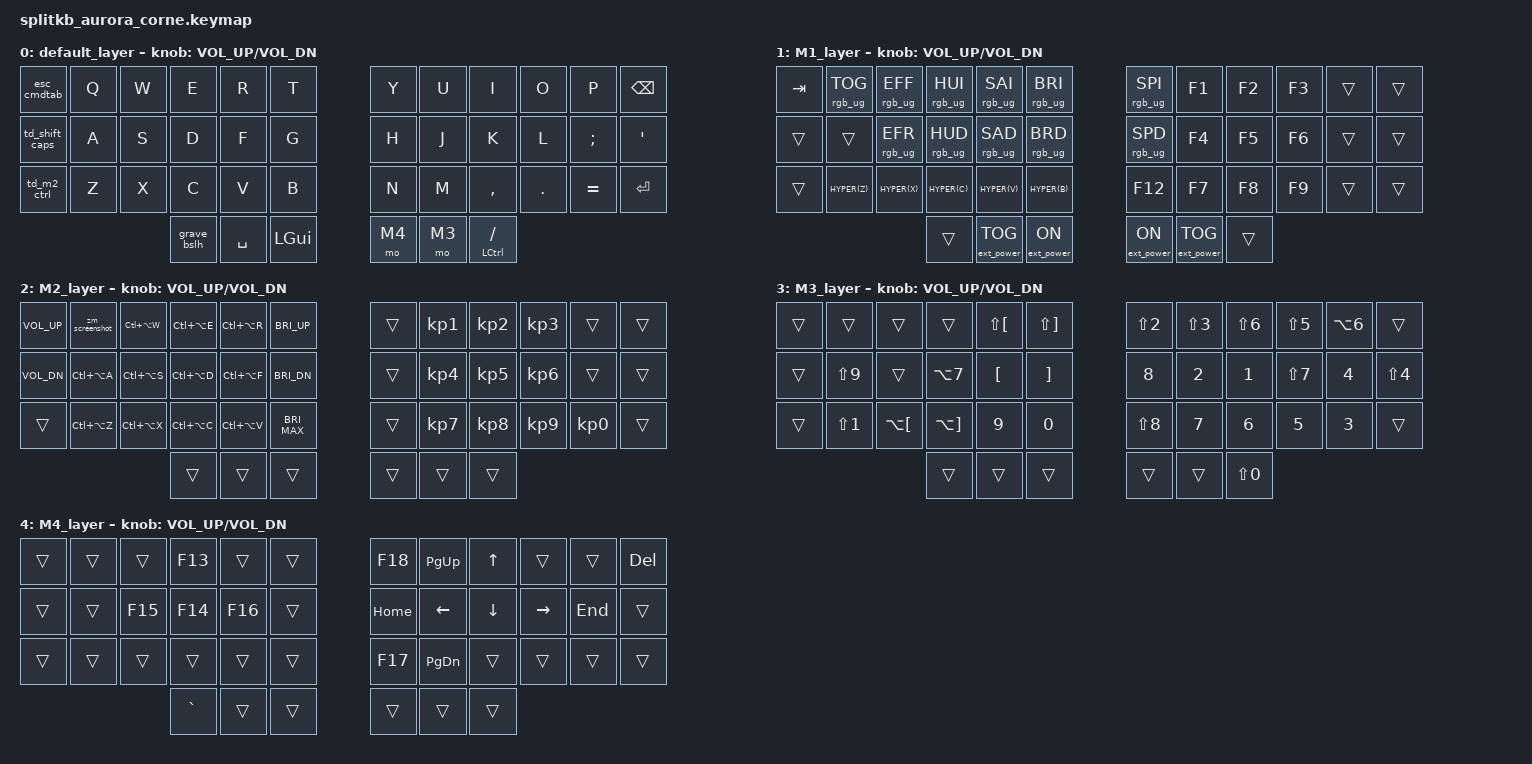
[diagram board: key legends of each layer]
#include <behaviors.dtsi>
#include <dt-bindings/zmk/keys.h>
#include <dt-bindings/zmk/bt.h>
#include <dt-bindings/zmk/ext_power.h>
#include <dt-bindings/zmk/outputs.h>
#include <dt-bindings/zmk/rgb.h>



// timeout for tap-dance
#define TD_TIMEOUT         150
#define TD_TIMEOUT_LONG    300

#define BASE 0
#define M1   1
#define M2   2
#define M3   3
#define M4   4

#define GO_DSK_1    LC(N1)        // show desktop 1
#define MV_DKS_1    LC(LS(N1))    // move window to desktop 1
#define GO_DSK_2    LC(N2)        // show desktop 2
#define MV_DKS_2    LC(LS(N2))    // move window to desktop 2
#define GO_DSK_3    LC(N3)        // show desktop 3
#define MV_DKS_3    LC(LS(N3))    // move window to desktop 3
#define SCREENSH    LG(LS(N4))    // macos screenshot tool (area)

// window manager
#define W_MAN_W     LC(LA(W))
#define W_MAN_E     LC(LA(E))
#define W_MAN_R     LC(LA(R))
#define W_MAN_T     LC(LA(T))
#define W_MAN_A     LC(LA(A))
#define W_MAN_S     LC(LA(S))
#define W_MAN_D     LC(LA(D))
#define W_MAN_F     LC(LA(F))
#define W_MAN_G     LC(LA(G))
#define W_MAN_Z     LC(LA(Z))
#define W_MAN_X     LC(LA(X))
#define W_MAN_C     LC(LA(C))
#define W_MAN_V     LC(LA(V))
#define W_MAN_B     LC(LA(B))

#define DEL_WORD    LA(BSPC)      // delete word back

#define SQUOTE      N1            // remaped '
#define DQUOTE      N2            // remaped "
#define MY_QMARK    N3            // remaped ?
#define MY_EXMARK   N4            // remaped !
#define MY_DOT      N5            // remaped .
#define MY_COM      N6            // remaped ,
#define MY_PLS      N7            // remaped +
#define MY_MIN      N8            // remaped -
#define MY_LBRKT    N9            // remaped (
#define MY_RBRKT    N0            // remaped )
#define MY_PRC      LS(N1)        // remaped %
#define MY_AT       LS(N2)        // remaped @
#define MY_HASH     LS(N3)        // remaped #
#define MY_DOLL     LS(N4)        // remaped $
#define MY_SMCOL    LS(N5)        // remaped ;
#define MY_COLON    LS(N6)        // remaped :
#define MY_ASTER    LS(N7)        // remaped *
#define MY_UNDER    LS(N8)        // remaped _
#define MY_EQUAL    LS(N9)        // remaped =
#define MY_BSLH     LS(N0)        // remaped backslash

#define CIR_FLEX    LA(N6)        // remaped ^
#define MY_AND      LA(N7)        // remaped &

#define MY_LCURL    LS(LBKT)      // remaped {
#define MY_RCURL    LS(RBKT)      // remaped }
#define MY_LSQBR    LBKT          // remaped [
#define MY_RSQBR    RBKT          // remaped ]
#define MY_LANBR    LA(LBKT)      // remaped <
#define MY_RANBR    LA(RBKT)      // remaped >

#define HYPER(key) LC(LS(LA(LG(key))))
#define HYP_ESC    HYPER(ESC)
#define HYP_Q      HYPER(Q)
#define HYP_W      HYPER(W)
#define HYP_E      HYPER(E)
#define HYP_R      HYPER(R)
#define HYP_T      HYPER(T)
#define HYP_A      HYPER(A)
#define HYP_S      HYPER(S)
#define HYP_D      HYPER(D)
#define HYP_F      HYPER(F)
#define HYP_G      HYPER(G)
#define HYP_Z      HYPER(Z)
#define HYP_X      HYPER(X)
#define HYP_C      HYPER(C)
#define HYP_V      HYPER(V)
#define HYP_B      HYPER(B)

/ {
    behaviors {
        esc_cmdtab: esc_cmdtab {
            compatible = "zmk,behavior-mod-morph";
            label = "esc_cmdtab";
            #binding-cells = <0>;
            bindings = <&mt LALT ESC>, <&kp TAB>;
            mods = <(MOD_LGUI)>;
            keep-mods = <(MOD_LGUI)>;
        };
        grave_bslh: grave_bslh {
            compatible = "zmk,behavior-mod-morph";
            label = "grave_bslh";
            #binding-cells = <0>;
            bindings = <&lt M1 BSLH>, <&kp GRAVE>;
            mods = <(MOD_LGUI)>;
            keep-mods = <(MOD_LGUI)>;
        };
    };

    macros {
        zm_screenshot: zm_screenshot {
            label = "zm_screenshot";
            compatible = "zmk,behavior-macro";
            #binding-cells = <0>;
            bindings
                = <&macro_press &kp LGUI &kp LSHIFT>
                , <&macro_tap &kp N4>
                , <&macro_release &kp LGUI &kp LSHIFT>
                ;
        };
    };
    behaviors {
        td_m2_ctrl: td_m2_ctrl {
            compatible = "zmk,behavior-tap-dance";
            label = "td_m1_ctrl";
            #binding-cells = <0>;
            tapping-term-ms = <TD_TIMEOUT_LONG>;
            bindings = <&mo M2>, <&kp LCTRL>;
        };
        td_dsk_1: td_dsk_1 {
            compatible = "zmk,behavior-tap-dance";
            label = "td_dsk_1";
            #binding-cells = <0>;
            tapping-term-ms = <TD_TIMEOUT>;
            bindings = <&kp GO_DSK_1>, <&kp MV_DKS_1>;
        };
        td_dsk_2: td_dsk_2 {
            compatible = "zmk,behavior-tap-dance";
            label = "td_dsk_2";
            #binding-cells = <0>;
            tapping-term-ms = <TD_TIMEOUT>;
            bindings = <&kp GO_DSK_2>, <&kp MV_DKS_2>;
        };
        td_dsk_3: td_dsk_3 {
            compatible = "zmk,behavior-tap-dance";
            label = "td_dsk_3";
            #binding-cells = <0>;
            tapping-term-ms = <TD_TIMEOUT>;
            bindings = <&kp GO_DSK_3>, <&kp MV_DKS_3>;
        };
        td_shift_caps: td_shift_caps {
            compatible = "zmk,behavior-tap-dance";
            label = "td_shift_caps";
            #binding-cells = <0>;
            tapping-term-ms = <TD_TIMEOUT_LONG>;
            bindings = <&kp LSHFT>, <&kp CAPS>;
        };
    };
    combos {
        compatible = "zmk,combos";

        // BT combos
        // combo_bt_sel_0 {
        //     timeout-ms = <50>;
        //     key-positions = <37 53>; // Lower + 6
        //     bindings = <&bt BT_SEL 0>;
        // };
        // combo_bt_sel_1 {
        //     timeout-ms = <50>;
        //     key-positions = <38 53>; // Lower + 7
        //     bindings = <&bt BT_SEL 1>;
        // };
        combo_bt_clr {
            timeout-ms = <50>;
            key-positions = <36 38>; // Lower + LGUI
            bindings = <&bt BT_CLR>;
        };

        // Media combos
        combo_play_pause {
            timeout-ms = <50>;
            key-positions = <24 25>;
            bindings = <&kp C_PP>;
        };
        combo_media_next {
            timeout-ms = <50>;
            key-positions = <24 0>;
            bindings = <&kp C_NEXT>;
        };
        combo_media_prev {
            timeout-ms = <50>;
            key-positions = <24 12>;
            bindings = <&kp C_PREV>;
        };

        // TAB
        combo_tab {
            timeout-ms = <75>;
            key-positions = <0 1>;
            bindings = <&kp TAB>;
        };

        // RGB
        combo_rgb_tog_l { // left
            timeout-ms = <75>;
            key-positions = <0 5>;
            layers = <M1>;
            bindings = <&rgb_ug RGB_TOG>;
        };
        combo_rgb_tog_r { // right
            timeout-ms = <75>;
            key-positions = <11 6>;
            layers = <M3>;
            bindings = <&rgb_ug RGB_TOG>;
        };
        combo_rgb_eff_l { // left
            timeout-ms = <75>;
            key-positions = <0 4>;
            layers = <M1>;
            bindings = <&rgb_ug RGB_EFF>;
        };
        combo_rgb_eff_r { // right
            timeout-ms = <75>;
            key-positions = <11 7>;
            layers = <M3>;
            bindings = <&rgb_ug RGB_EFF>;
        };
        combo_rgb_br_increase_l { // left
            timeout-ms = <75>;
            key-positions = <0 3>;
            layers = <M1>;
            bindings = <&rgb_ug RGB_BRI>;
        };
        combo_rgb_br_increase_r { // right
            timeout-ms = <75>;
            key-positions = <11 8>;
            layers = <M3>;
            bindings = <&rgb_ug RGB_BRI>;
        };
        combo_rgb_br_decrease_l { // left
            timeout-ms = <75>;
            key-positions = <0 2>;
            layers = <M1>;
            bindings = <&rgb_ug RGB_BRD>;
        };
        combo_rgb_br_decrease_r { // right
            timeout-ms = <75>;
            key-positions = <11 9>;
            layers = <M3>;
            bindings = <&rgb_ug RGB_BRD>;
        };
        combo_rgb_hui_increase_l { // left
            timeout-ms = <75>;
            key-positions = <0 16>;
            layers = <M1>;
            bindings = <&rgb_ug RGB_HUI>;
        };
        combo_rgb_hui_increase_r { // right
            timeout-ms = <75>;
            key-positions = <11 19>;
            layers = <M3>;
            bindings = <&rgb_ug RGB_HUI>;
        };
    };

    keymap {
        compatible = "zmk,keymap";

        default_layer {
            // +---------------------------------------------------------------------------------------------------------------------------------------------------------+
            // |          |          |          |          |          |          |                        |          |          |          |          |          |       |
            // |          |          |          |          |          |          |                        |          |          |          |          |          |       |
            // |          |          |          |          |          |          |                        |          |          |          |          |          |       |
            // |          |          |          |          |          |          |          |  |          |          |          |          |          |          |       |
            //                                  |          |          |          |          |  |          |          |          |          |
            bindings = <
                &esc_cmdtab     &kp Q   &kp W  &kp E    &kp R        &kp T                            &kp Y     &kp U            &kp I           &kp O      &kp P          &kp BSPC
                &td_shift_caps  &kp A   &kp S  &kp D    &kp F        &kp G                            &kp H     &kp J            &kp K           &kp L      &kp SEMI       &kp APOS
                &td_m2_ctrl     &kp Z   &kp X  &kp C    &kp V        &kp B                            &kp N     &kp M            &kp COMMA       &kp DOT    &kp EQUAL      &kp ENTER
                                                        &grave_bslh  &kp SPACE  &kp LGUI    &mo M4    &mo M3    &mt LCTRL FSLH
            >;

            sensor-bindings = <&inc_dec_kp C_VOL_UP C_VOL_DN>;
        };

        M1_layer { // RED
            // +------------------------------------------------------------------------------------------------------------------------------------------------------------+
            // |          |          |          |          |          |          |                        |          |          |          |          |          |          |
            // |          |          |          |          |          |          |                        |          |          |          |          |          |          |
            // |          |          |          |          |          |          |                        |          |          |          |          |          |          |
            // |          |          |          |          |          |          |          |  |          |          |          |          |          |          |          |
            //                                  |          |          |          |          |  |          |          |          |          |
            bindings = <
                &kp TAB      &rgb_ug RGB_TOG  &rgb_ug RGB_EFF  &rgb_ug RGB_HUI  &rgb_ug RGB_SAI  &rgb_ug RGB_BRI                &rgb_ug RGB_SPI  &kp F1  &kp F2    &kp F3  &trans    &trans
                &trans       &trans           &rgb_ug RGB_EFR  &rgb_ug RGB_HUD  &rgb_ug RGB_SAD  &rgb_ug RGB_BRD                &rgb_ug RGB_SPD  &kp F4  &kp F5    &kp F6  &trans    &trans
                &trans       &kp HYP_Z  &kp HYP_X  &kp HYP_C  &kp HYP_V  &kp HYP_B                      &kp F12  &kp F7  &kp F8    &kp F9  &trans    &trans
                                                              &trans     &ext_power EP_TOG &ext_power EP_ON    &ext_power EP_ON   &ext_power EP_TOG   &trans
            >;

            sensor-bindings = <&inc_dec_kp C_VOL_UP C_VOL_DN>;
        };

        M2_layer { // BLUE
            // +------------------------------------------------------------------------------------------------------------------------------------------------------------+
            // |          |          |          |          |          |          |                        |          |          |          |          |          |          |
            // |          |          |          |          |          |          |                        |          |          |          |          |          |          |
            // |          |          |          |          |          |          |                        |          |          |          |          |          |          |
            // |          |          |          |          |          |          |          |  |          |          |          |          |          |          |          |
            //                                  |          |          |          |          |  |          |          |          |          |
            bindings = <
                &kp C_VOL_UP  &zm_screenshot  &kp W_MAN_W     &kp W_MAN_E    &kp W_MAN_R     &kp C_BRI_UP                        &trans  &kp KP_N1  &kp KP_N2  &kp KP_N3  &trans     &trans
                &kp C_VOL_DN  &kp W_MAN_A     &kp W_MAN_S     &kp W_MAN_D    &kp W_MAN_F     &kp C_BRI_DN                        &trans  &kp KP_N4  &kp KP_N5  &kp KP_N6  &trans     &trans
                &trans        &kp W_MAN_Z     &kp W_MAN_X     &kp W_MAN_C    &kp W_MAN_V     &kp C_BRI_MAX                       &trans  &kp KP_N7  &kp KP_N8  &kp KP_N9  &kp KP_N0  &trans
                                                                             &trans          &trans         &trans    &trans     &trans  &trans
            >;

            sensor-bindings = <&inc_dec_kp C_VOL_UP C_VOL_DN>;
        };

        M3_layer { // MINT
            // +------------------------------------------------------------------------------------------------------------------------------------------------------------+
            // |          |          |          |          |          |          |                        |          |          |          |          |          |          |
            // |          |          |          |          |          |          |                        |          |          |          |          |          |          |
            // |          |          |          |          |          |          |                        |          |          |          |          |          |          |
            // |          |          |          |          |          |          |          |  |          |          |          |          |          |          |          |
            //                                  |          |          |          |          |  |          |          |          |          |
            bindings = <
                &trans  &trans        &trans        &trans        &kp MY_LCURL   &kp MY_RCURL                        &kp MY_AT     &kp MY_HASH   &kp MY_COLON   &kp MY_SMCOL   &kp CIR_FLEX   &trans
                &trans  &kp MY_EQUAL  &trans        &kp MY_AND    &kp MY_LSQBR   &kp MY_RSQBR                        &kp MY_MIN    &kp DQUOTE    &kp SQUOTE     &kp MY_ASTER   &kp MY_EXMARK  &kp MY_DOLL
                &trans  &kp MY_PRC    &kp MY_LANBR  &kp MY_RANBR  &kp MY_LBRKT   &kp MY_RBRKT                        &kp MY_UNDER  &kp MY_PLS    &kp MY_COM     &kp MY_DOT     &kp MY_QMARK   &trans
                                                                  &trans         &trans        &trans    &trans      &trans        &kp MY_BSLH
            >;

            sensor-bindings = <&inc_dec_kp C_VOL_UP C_VOL_DN>;
        };

        M4_layer { // GREEN
            // +---------------------------------------------------------------------------------------------------------------------------------------------------------+
            // |          |          |          |          |          |          |                        |          |          |          |          |          |       |
            // |          |          |          |          |          |          |                        |          |          |          |          |          |       |
            // |          |          |          |          |          |          |                        |          |          |          |          |          |       |
            // |          |          |          |          |          |          |          |  |          |          |          |          |          |          |       |
            //                                  |          |          |          |          |  |          |          |          |          |
            bindings = <
                &trans  &trans  &trans   &kp F13    &trans     &trans                        &kp F18    &kp PG_UP   &kp UP     &trans     &trans     &kp DEL
                &trans  &trans  &kp F15  &kp F14    &kp F16    &trans                        &kp HOME   &kp LEFT    &kp DOWN   &kp RIGHT  &kp END    &trans
                &trans  &trans  &trans   &trans     &trans     &trans                        &kp F17    &kp PG_DN   &trans     &trans     &trans     &trans
                                                    &kp GRAVE  &trans   &trans    &trans     &trans     &trans
            >;

            sensor-bindings = <&inc_dec_kp C_VOL_UP C_VOL_DN>;
        };
    };
};
